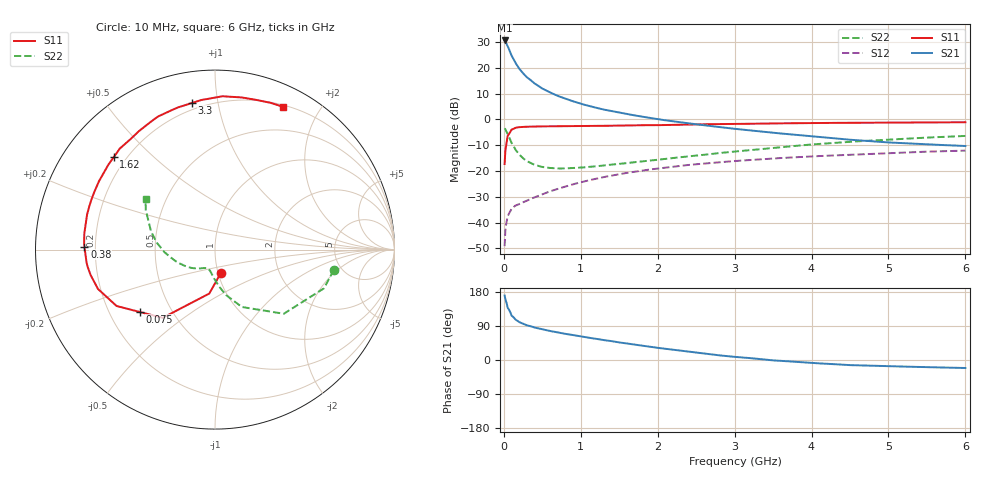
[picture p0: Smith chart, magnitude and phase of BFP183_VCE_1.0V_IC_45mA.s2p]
! Infineon Technologies  Discrete & RF Semiconductors
! BFP183
! VCE = 1.0 V,  IC =  45 mA
! Common Emitter S-Parameters:  Jan 2016
# GHz  S  MA  R  50
!  f  S11  S21  S12  S22
! GHz  MAG  ANG  MAG  ANG  MAG  ANG  MAG  ANG
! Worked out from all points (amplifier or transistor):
!   210 points, 10 MHz to 6 GHz, reference 50 ohm
!   highest |S21| = 30.6 dB at 10 MHz (marker M1)
!   |S21| within 3 dB of that: start of sweep to 61.8 MHz
!   unconditionally stable (mu >= 1): start of sweep to 30.5 MHz; 181.4 MHz to end of sweep
!   at 185 MHz: K = 1.01, MAG = 25.9 dB, |S12| = -33.0 dB
!   at 1.52 GHz: K = 1.82, MAG = 6.6 dB, |S12| = -21.1 dB
!   at 6 GHz: K = 1.49, MAG = -3.3 dB, |S12| = -12.1 dB
!   S11 on the Smith chart (normalised r, x): 10 MHz: 1.03, -0.28; 75 MHz: 0.33, -0.33; 380 MHz: 0.16, +0.01; 1.62 GHz: 0.15, +0.38; 3.3 GHz: 0.16, +0.84; 6 GHz: 0.22, +1.56
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0.01  0.1366 -76.9  33.87 170.2  0.0035 66.2  0.6719 -9.7
0.02  0.2469 -97.4  32.76 160.9  0.0072 68.4  0.6441 -19.6
0.05  0.4793 -127.5  26.34 138.0  0.0133 54.8  0.5242 -43.0
0.075  0.545 -140.4  21.48 129.8  0.0158 47.8  0.431 -51.8
0.1  0.6321 -150.2  17.29 117.3  0.0184 42.8  0.3531 -64.9
0.15  0.6878 -161.4  12.49 106.7  0.0214 40.8  0.2606 -76.3
0.2  0.7076 -168.5  9.628 100.0  0.0229 42.2  0.2087 -83.4
0.26  0.719 -174.0  7.546 94.6  0.0252 44.5  0.1719 -89.6
0.3  0.7215 -176.9  6.557 91.5  0.0267 46.5  0.1551 -93.1
0.38  0.7278 178.7  5.276 87.1  0.0301 50.0  0.1364 -97.6
0.5  0.7336 172.9  3.962 80.9  0.0352 52.7  0.1199 -103.7
0.6  0.7345 168.7  3.331 76.5  0.0404 55.1  0.1146 -107.9
0.8  0.7403 162.0  2.517 69.0  0.05 57.9  0.1124 -113.7
1.02  0.745 154.8  1.974 61.6  0.0615 58.4  0.1169 -119.4
1.3  0.7516 146.5  1.551 52.5  0.0765 57.1  0.1284 -125.8
1.62  0.7636 137.7  1.261 43.0  0.093 54.9  0.1436 -132.8
2.02  0.7749 127.3  0.998 31.6  0.1127 51.0  0.1668 -142.3
3.1  0.8204 102.7  0.635 6.7  0.1598 38.8  0.246 -168.8
3.3  0.8269 98.9  0.592 3.1  0.1674 36.5  0.263 -173.2
4.1  0.8554 85.8  0.457 -8.9  0.195 27.5  0.3349 171.2
5.1  0.8666 73.4  0.352 -16.8  0.2238 17.9  0.4127 155.1
6  0.8813 64.5  0.305 -21.1  0.2485 8.3  0.4787 143.9
